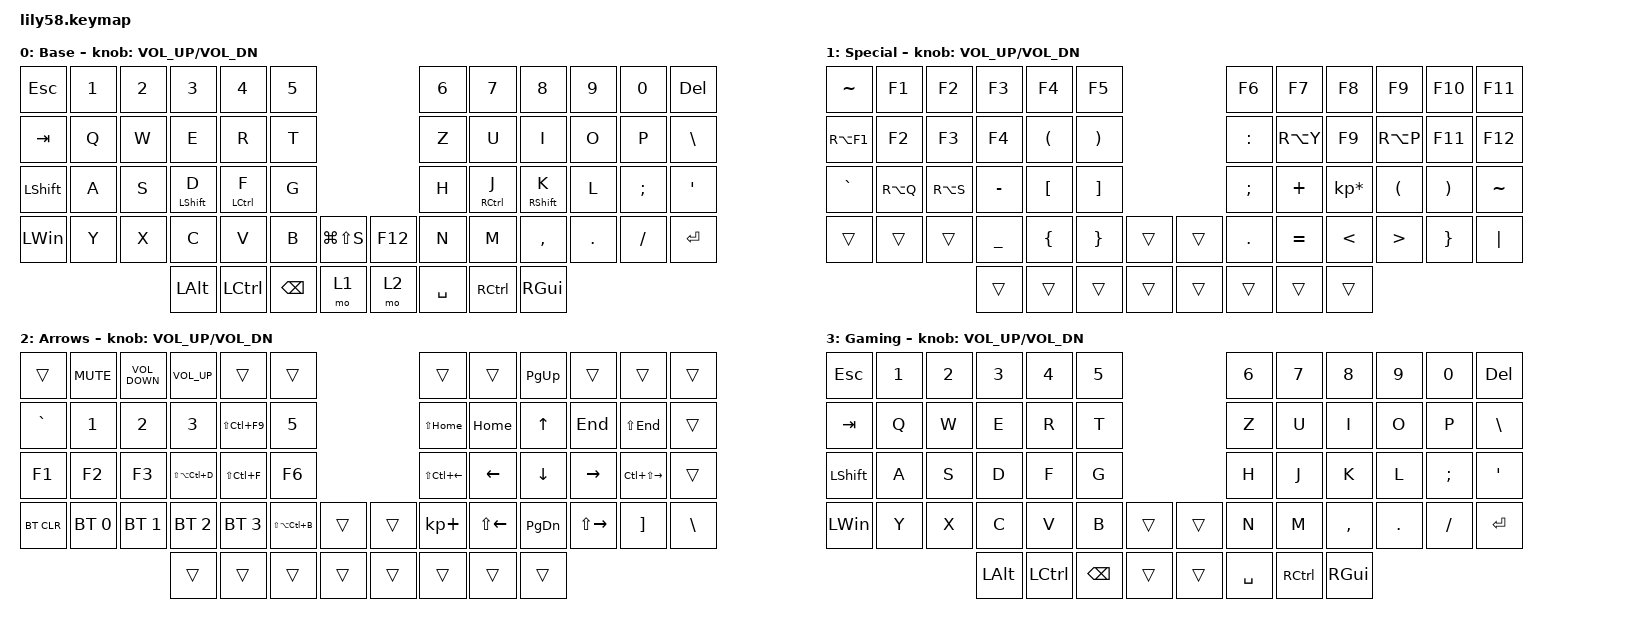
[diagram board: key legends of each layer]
/*
 * Copyright (c) 2020 The ZMK Contributors
 *
 * SPDX-License-Identifier: MIT
 */

#include <behaviors.dtsi>
#include <dt-bindings/zmk/bt.h>
#include <dt-bindings/zmk/keys.h>

/ {
    behaviors {
        HRM: HRM {
            compatible = "zmk,behavior-hold-tap";
            label = "HRM";
            bindings = <&kp>, <&kp>;

            #binding-cells = <2>;
            tapping-term-ms = <200>;
            flavor = "tap-preferred";
            hold-while-undecided;
        };
    };

    combos {
        compatible = "zmk,combos";

        Toggle_gaming_layer {
            bindings = <&tog 3>;
            key-positions = <53 54>;
        };
    };

    keymap {
        compatible = "zmk,keymap";

        default_layer {
            // ------------------------------------------------------------------------------------------------------------
            // |  ESC  |  1  |  2  |  3   |  4   |  5   |                   |  6   |  7    |  8    |  9   |   0   |   `   |
            // |  TAB  |  Q  |  W  |  E   |  R   |  T   |                   |  Y   |  U    |  I    |  O   |   P   |   -   |
            // |  CTRL |  A  |  S  |  D   |  F   |  G   |                   |  H   |  J    |  K    |  L   |   ;   |   '   |
            // | SHIFT |  Z  |  X  |  C   |  V   |  B   |   "["  |  |  "]"  |  N   |  M    |  ,    |  .   |   /   | SHIFT |
            //                     | ALT  | GUI  | LOWER|  SPACE |  | ENTER | RAISE| BSPC  | GUI   |

            display-name = "Base";
            bindings = <
&kp ESC       &kp N1  &kp N2  &kp N3        &kp N4        &kp N5                                   &kp N6     &kp N7        &kp N8        &kp N9   &kp N0    &kp DELETE
&kp TAB       &kp Q   &kp W   &kp E         &kp R         &kp T                                    &kp Z      &kp U         &kp I         &kp O    &kp P     &kp BACKSLASH
&kp LSHFT     &kp A   &kp S   &HRM LSHFT D  &HRM LCTRL F  &kp G                                    &kp H      &HRM RCTRL J  &HRM RSHFT K  &kp L    &kp SEMI  &kp SQT
&kp LEFT_WIN  &kp Y   &kp X   &kp C         &kp V         &kp B          &kp LG(LS(S))    &kp F12  &kp N      &kp M         &kp COMMA     &kp DOT  &kp FSLH  &kp ENTER
                              &kp LALT      &kp LCTRL     &kp BACKSPACE  &mo 1            &mo 2    &kp SPACE  &kp RCTRL     &kp RGUI
            >;

            sensor-bindings = <&inc_dec_kp C_VOL_UP C_VOL_DN>;
        };

        special_chars {
            // ------------------------------------------------------------------------------------------------------------
            // | BTCLR | BT1 | BT2 |  BT3 |  BT4 |  BT5 |                   |      |       |       |      |       |       |
            // |  F1   |  F2 |  F3 |  F4  |  F5  |  F6  |                   |  F7  |  F8   |  F9   |  F10 |  F11  |  F12  |
            // |   `   |  !  |  @  |  #   |  $   |  %   |                   |  ^   |  &    |  *    |  (   |   )   |   ~   |
            // |       |     |     |      |      |      |        |  |       |      |  _    |  +    |  {   |   }   |  "|"  |
            //                     |      |      |      |        |  |       |      |       |       |

            display-name = "Special";
            bindings = <
&kp TILDE   &kp F1     &kp F2     &kp F3          &kp F4                &kp F5                                   &kp F6         &kp F7     &kp F8           &kp F9            &kp F10   &kp F11
&kp RA(F1)  &kp F2     &kp F3     &kp F4          &kp LEFT_PARENTHESIS  &kp RIGHT_PARENTHESIS                    &kp COLON      &kp RA(Y)  &kp F9           &kp RA(P)         &kp F11   &kp F12
&kp GRAVE   &kp RA(Q)  &kp RA(S)  &kp MINUS       &kp LEFT_BRACKET      &kp RIGHT_BRACKET                        &kp SEMICOLON  &kp PLUS   &kp KP_MULTIPLY  &kp LPAR          &kp RPAR  &kp TILDE
&trans      &trans     &trans     &kp UNDERSCORE  &kp LEFT_BRACE        &kp RIGHT_BRACE        &trans    &trans  &kp PERIOD     &kp EQUAL  &kp LESS_THAN    &kp GREATER_THAN  &kp RBRC  &kp PIPE
                                  &trans          &trans                &trans                 &trans    &trans  &trans         &trans     &trans
            >;

            sensor-bindings = <&inc_dec_kp C_VOL_UP C_VOL_DN>;
            label = "special";
        };

        arrows_layer {
            // ------------------------------------------------------------------------------------------------------------
            // |       |     |     |      |      |      |                   |      |       |       |      |       |       |
            // |   `   |  1  |  2  |  3   |  4   |  5   |                   |  6   |   7   |   8   |  9   |   0   |       |
            // |   F1  |  F2 |  F3 |  F4  |  F5  |  F6  |                   |      |   <-  |   v   |  ^   |  ->   |       |
            // |   F7  |  F8 |  F9 |  F10 |  F11 |  F12 |        |  |       |  +   |   -   |   =   |  [   |   ]   |   \   |
            //                     |      |      |      |        |  |       |      |       |       |

            display-name = "Arrows";
            bindings = <
&trans      &kp K_MUTE    &kp C_VOLUME_DOWN  &kp C_VOLUME_UP    &trans          &trans                               &trans            &trans        &kp PAGE_UP    &trans         &trans             &trans
&kp GRAVE   &kp N1        &kp N2             &kp N3             &kp LS(LC(F9))  &kp N5                               &kp LS(HOME)      &kp HOME      &kp UP_ARROW   &kp END        &kp LS(END)        &trans
&kp F1      &kp F2        &kp F3             &kp LS(LA(LC(D)))  &kp LS(LC(F))   &kp F6                               &kp LS(LC(LEFT))  &kp LEFT      &kp DOWN       &kp RIGHT      &kp LC(LS(RIGHT))  &trans
&bt BT_CLR  &bt BT_SEL 0  &bt BT_SEL 1       &bt BT_SEL 2       &bt BT_SEL 3    &kp LS(LA(LC(B)))  &trans    &trans  &kp KP_PLUS       &kp LS(LEFT)  &kp PAGE_DOWN  &kp LS(RIGHT)  &kp RBKT           &kp BSLH
                                             &trans             &trans          &trans             &trans    &trans  &trans            &trans        &trans
            >;

            sensor-bindings = <&inc_dec_kp C_VOL_UP C_VOL_DN>;
            label = "arrows";
        };

        gaming_layer {
            display-name = "Gaming";
            bindings = <
&kp ESC       &kp N1  &kp N2  &kp N3    &kp N4     &kp N5                           &kp N6     &kp N7     &kp N8     &kp N9   &kp N0    &kp DELETE
&kp TAB       &kp Q   &kp W   &kp E     &kp R      &kp T                            &kp Z      &kp U      &kp I      &kp O    &kp P     &kp BACKSLASH
&kp LSHFT     &kp A   &kp S   &kp D     &kp F      &kp G                            &kp H      &kp J      &kp K      &kp L    &kp SEMI  &kp SQT
&kp LEFT_WIN  &kp Y   &kp X   &kp C     &kp V      &kp B          &trans    &trans  &kp N      &kp M      &kp COMMA  &kp DOT  &kp FSLH  &kp ENTER
                              &kp LALT  &kp LCTRL  &kp BACKSPACE  &trans    &trans  &kp SPACE  &kp RCTRL  &kp RGUI
            >;

            sensor-bindings = <&inc_dec_kp C_VOL_UP C_VOL_DN>;
            label = "gaming";
        };

        extra_1 { status = "reserved"; };
    };
};
